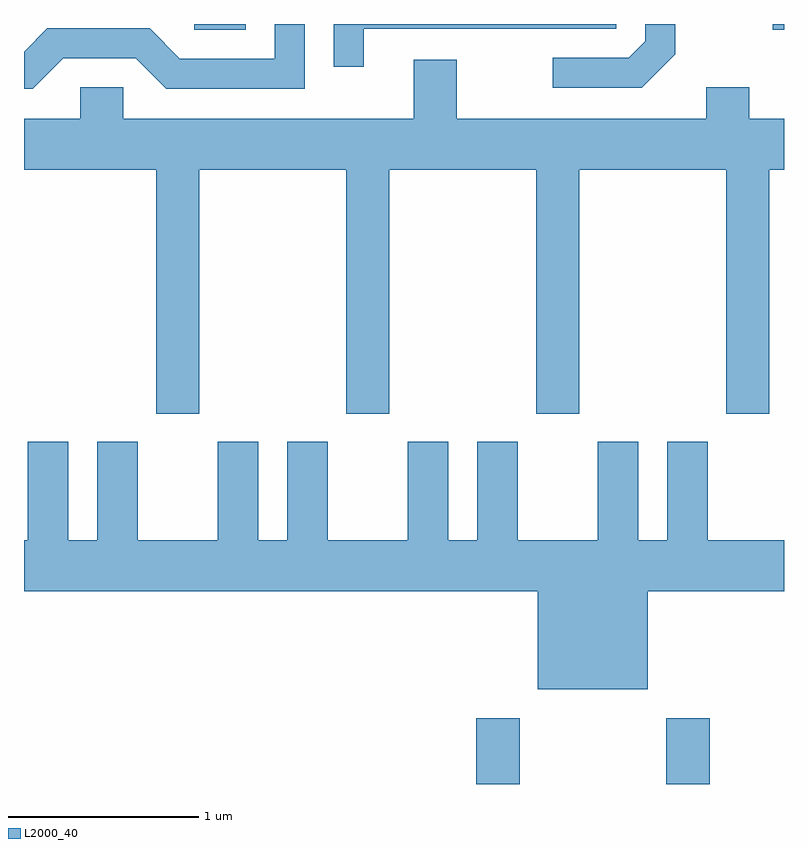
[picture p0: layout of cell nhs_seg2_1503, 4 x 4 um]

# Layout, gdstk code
import gdstk
lib = gdstk.Library(unit=1e-6, precision=1e-09)
def R(c, l, rs):  # rectangles x0, y0, x1, y1
    for r in rs: c.add(gdstk.rectangle(r[:2], r[2:], *l))
def P(c, l, *ps):  # polygons
    for p in ps: c.add(gdstk.Polygon(p, *l))
L2000_40 = (2000, 40)

nhs_seg2_1503 = lib.new_cell('nhs_seg2_1503')
R(nhs_seg2_1503, L2000_40, [(231.991,991.802,232.219,992.149), (232.991,991.802,233.219,992.149), (230.508,995.771,230.779,995.802), (233.553,995.771,233.611,995.802)])
P(nhs_seg2_1503, L2000_40, [(231.399,995.776),(232.729,995.776),(232.729,995.802),(231.241,995.802),(231.241,995.578),(231.399,995.578)],
  [(233.039,995.644),(233.039,995.802),(232.881,995.802),(232.881,995.712),(232.794,995.624),(232.393,995.624),(232.393,995.466),(232.862,995.466)],
  [(229.817,995.621),(230.199,995.621),(230.359,995.461),(231.089,995.461),(231.089,995.802),(230.931,995.802),(230.931,995.619),(230.432,995.619),(230.272,995.779),(229.734,995.779),(229.611,995.656),(229.611,995.461),(229.657,995.461)],
  [(230.534,995.036),(231.306,995.036),(231.306,993.751),(231.534,993.751),(231.534,995.036),(232.306,995.036),(232.306,993.751),(232.534,993.751),(232.534,995.036),(233.306,995.036),(233.306,993.751),(233.534,993.751),(233.534,995.036),(233.611,995.036),(233.611,995.304),(233.429,995.304),(233.429,995.469),(233.201,995.469),(233.201,995.304),(231.889,995.304),(231.889,995.614),(231.661,995.614),(231.661,995.304),(230.134,995.304),(230.134,995.469),(229.906,995.469),(229.906,995.304),(229.611,995.304),(229.611,995.036),(230.306,995.036),(230.306,993.751),(230.534,993.751)],
  [(229.631,993.604),(229.631,993.084),(229.611,993.084),(229.611,992.816),(232.316,992.816),(232.316,992.301),(232.894,992.301),(232.894,992.816),(233.611,992.816),(233.611,993.084),(233.209,993.084),(233.209,993.604),(232.996,993.604),(232.996,993.084),(232.844,993.084),(232.844,993.604),(232.631,993.604),(232.631,993.084),(232.209,993.084),(232.209,993.604),(231.996,993.604),(231.996,993.084),(231.844,993.084),(231.844,993.604),(231.631,993.604),(231.631,993.084),(231.209,993.084),(231.209,993.604),(230.996,993.604),(230.996,993.084),(230.844,993.084),(230.844,993.604),(230.631,993.604),(230.631,993.084),(230.209,993.084),(230.209,993.604),(229.996,993.604),(229.996,993.084),(229.844,993.084),(229.844,993.604)])

lib.write_gds('nhs_seg2_1503.gds')
